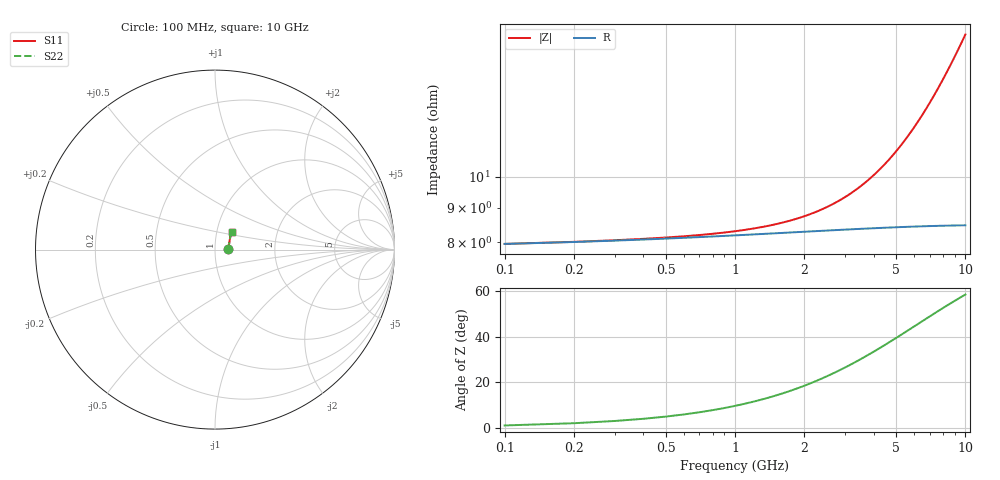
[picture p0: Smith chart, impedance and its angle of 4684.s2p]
# Hz S RI R 50.00
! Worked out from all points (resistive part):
!   100 points, 100 MHz to 10 GHz, reference 50 ohm
!   read as one part in series: R = 7.96 ohm at 100 MHz
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1e8  0.0737 0.00101  0.9263 -0.00136  0.9263 -0.00136  0.0737 0.00101
2e8  0.0742 0.00202  0.9258 -0.00272  0.9258 -0.00272  0.0742 0.00202
3e8  0.0745 0.00302  0.9255 -0.00408  0.9255 -0.00408  0.0745 0.00302
4e8  0.0748 0.00403  0.9252 -0.00544  0.9252 -0.00544  0.0748 0.00403
8e8  0.0756 0.00804  0.9244 -0.0109  0.9244 -0.0109  0.0756 0.00804
1.3e9  0.0763 0.013  0.9237 -0.0176  0.9237 -0.0176  0.0763 0.013
1.6e9  0.0767 0.016  0.9233 -0.0217  0.9233 -0.0217  0.0767 0.016
1.8e9  0.077 0.018  0.923 -0.0244  0.923 -0.0244  0.077 0.018
2.2e9  0.0775 0.022  0.9225 -0.0298  0.9225 -0.0298  0.0775 0.022
2.6e9  0.078 0.026  0.922 -0.0352  0.922 -0.0352  0.078 0.026
3e9  0.0785 0.03  0.9215 -0.0406  0.9215 -0.0406  0.0785 0.03
3.4e9  0.079 0.034  0.9209 -0.046  0.9209 -0.046  0.079 0.034
3.8e9  0.0796 0.0379  0.9203 -0.0513  0.9203 -0.0513  0.0796 0.0379
4.2e9  0.0802 0.0419  0.9197 -0.0567  0.9197 -0.0567  0.0802 0.0419
4.6e9  0.0808 0.0458  0.9191 -0.0621  0.9191 -0.0621  0.0808 0.0458
5.1e9  0.0816 0.0507  0.9182 -0.0687  0.9182 -0.0687  0.0816 0.0507
5.7e9  0.0827 0.0566  0.9171 -0.0768  0.9171 -0.0768  0.0827 0.0566
6.7e9  0.0846 0.0664  0.9151 -0.09  0.9151 -0.09  0.0846 0.0664
7.6e9  0.0866 0.0751  0.913 -0.1019  0.913 -0.1019  0.0866 0.0751
8.4e9  0.0886 0.0828  0.911 -0.1125  0.911 -0.1125  0.0886 0.0828
9.2e9  0.0907 0.0904  0.9088 -0.1229  0.9088 -0.1229  0.0907 0.0904
1e10  0.0929 0.098  0.9064 -0.1333  0.9064 -0.1333  0.0929 0.098
